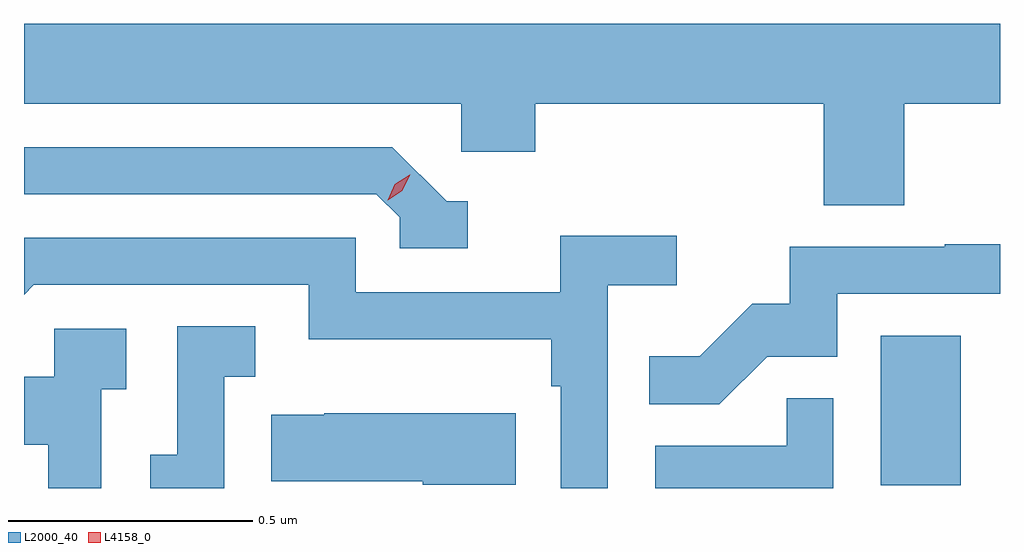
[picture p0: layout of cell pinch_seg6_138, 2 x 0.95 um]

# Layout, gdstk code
import gdstk
lib = gdstk.Library(unit=1e-6, precision=1e-09)
def R(c, l, rs):  # rectangles x0, y0, x1, y1
    for r in rs: c.add(gdstk.rectangle(r[:2], r[2:], *l))
def P(c, l, *ps):  # polygons
    for p in ps: c.add(gdstk.Polygon(p, *l))
L2000_40 = (2000, 40)
L4158_0 = (4158, 0)

pinch_seg6_138 = lib.new_cell('pinch_seg6_138')
R(pinch_seg6_138, L2000_40, [(1006.964,918.582,1007.128,918.889)])
P(pinch_seg6_138, L2000_40, [(1007.012,919.364),(1007.208,919.364),(1007.208,919.528),(1005.208,919.528),(1005.208,919.364),(1006.104,919.364),(1006.104,919.266),(1006.256,919.266),(1006.256,919.364),(1006.847,919.364),(1006.847,919.156),(1007.012,919.156)],
  [(1006.117,919.164),(1006.074,919.164),(1005.963,919.275),(1005.208,919.275),(1005.208,919.179),(1005.93,919.179),(1005.978,919.131),(1005.978,919.068),(1006.117,919.068)],
  [(1006.404,918.992),(1006.546,918.992),(1006.546,919.094),(1006.307,919.094),(1006.307,918.978),(1005.888,918.978),(1005.888,919.089),(1005.208,919.089),(1005.208,918.973),(1005.228,918.993),(1005.792,918.993),(1005.792,918.881),(1006.288,918.881),(1006.288,918.785),(1006.308,918.785),(1006.308,918.576),(1006.404,918.576)],
  [(1006.731,918.846),(1006.875,918.846),(1006.875,918.975),(1007.208,918.975),(1007.208,919.076),(1007.095,919.076),(1007.095,919.071),(1006.777,919.071),(1006.777,918.954),(1006.7,918.954),(1006.593,918.847),(1006.489,918.847),(1006.489,918.748),(1006.633,918.748)],
  [(1005.618,918.805),(1005.682,918.805),(1005.682,918.908),(1005.522,918.908),(1005.522,918.645),(1005.467,918.645),(1005.467,918.576),(1005.618,918.576)],
  [(1005.366,918.779),(1005.418,918.779),(1005.418,918.903),(1005.27,918.903),(1005.27,918.805),(1005.208,918.805),(1005.208,918.665),(1005.258,918.665),(1005.258,918.576),(1005.366,918.576)],
  [(1006.866,918.761),(1006.771,918.761),(1006.771,918.663),(1006.502,918.663),(1006.502,918.576),(1006.866,918.576)],
  [(1006.216,918.73),(1005.823,918.73),(1005.823,918.727),(1005.715,918.727),(1005.715,918.59),(1006.025,918.59),(1006.025,918.583),(1006.216,918.583)])
P(pinch_seg6_138, L4158_0, [(1005.953,919.166),(1005.953,919.166),(1005.968,919.199),(1005.998,919.219),(1005.999,919.219),(1005.999,919.219),(1005.983,919.186),(1005.953,919.166)])

lib.write_gds('pinch_seg6_138.gds')
